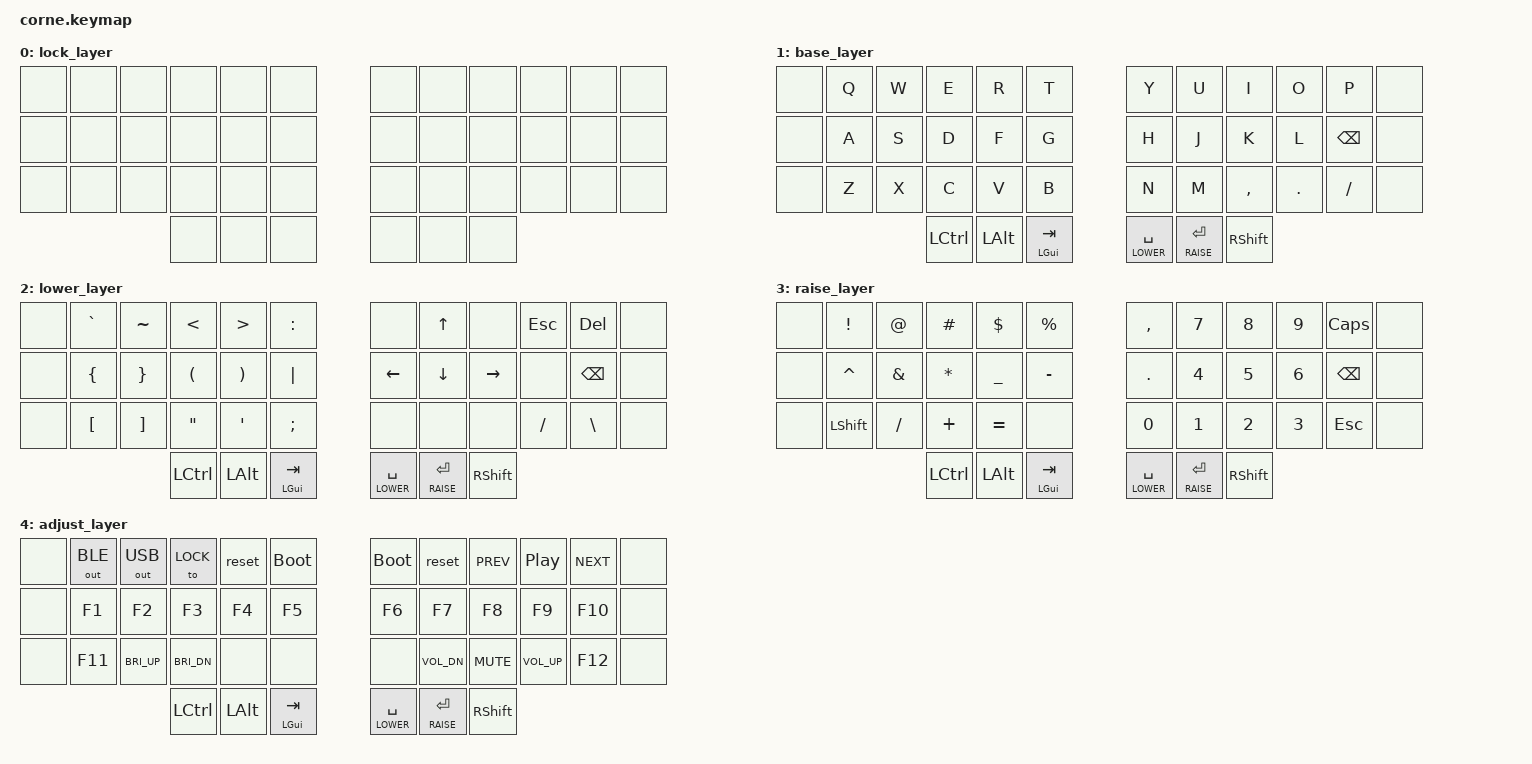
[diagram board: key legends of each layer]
/*
 * Copyright (c) 2020 The ZMK Contributors
 *
 * SPDX-License-Identifier: MIT
 */

#include <behaviors.dtsi>
#include <dt-bindings/zmk/keys.h>
#include <dt-bindings/zmk/outputs.h>

#define LOCK 0
#define BASE   1
#define LOWER   2
#define RAISE   3
#define ADJUST  4

/ {
        conditional_layers {
                compatible = "zmk,conditional-layers";
                adjust_layer {
                if-layers = <LOWER RAISE>;
                then-layer = <ADJUST>;
                };
                layers = <BASE LOWER RAISE ADJUST>;
        };
        
        behaviors {
                tm: space_mod {
                        compatible = "zmk,behavior-hold-tap";
                        label = "SPACE_MOD";
                        #binding-cells = <2>;
                        flavor = "balanced";
                        tapping-term-ms = <200>;
                        quick-tap-ms = <125>;
                        bindings = <&kp>, <&kp>;
                };
        };

        combos {
                compatible = "zmk,combos";
                combo_unlock {
                    timeout-ms = <500>;
                    key-positions = <16 19>;
                    bindings = <&to BASE>;
                    layers = <LOCK>;
                };
                combo_copy {
                    timeout-ms = <30>;
                    key-positions = <13 22>;
                    bindings = <&kp LG(C)>;
                    layers = <BASE>;
                };
                combo_cut {
                    timeout-ms = <30>;
                    key-positions = <14 21>;
                    bindings = <&kp LG(X)>;
                    layers = <BASE>;
                };
                combo_paste {
                    timeout-ms = <30>;
                    key-positions = <15 20>;
                    bindings = <&kp LG(V)>;
                    layers = <BASE>;
                };
                combo_sel_all {
                    timeout-ms = <30>;
                    key-positions = <25 34>;
                    bindings = <&kp LG(A)>;
                    layers = <BASE>;
                };
                combo_left_space {
                    timeout-ms = <50>;
                    key-positions = <26 33>;
                    bindings = <&kp LC(LEFT)>;
                    layers = <BASE>;
                };
                combo_right_space {
                    timeout-ms = <50>;
                    key-positions = <27 32>;
                    bindings = <&kp LC(RIGHT)>;
                    layers = <BASE>;
                };

                combo_esc {
                    timeout-ms = <50>;
                    key-positions = <28 31>;
                    bindings = <&kp ESC>;
                    layers = <BASE>;
                };
        };

        keymap {
                compatible = "zmk,keymap";

                lock_layer {
// ---------------------------------------------------------------------------   --------------------------------------------------------------------------
// |    0  |   1        |    2        |   3        |     4       |     5     |   |     6     |     7     |     8      |   9          |   10       |  11   |
// ---------------------------------------------------------------------------   --------------------------------------------------------------------------
// | 12    |    13      |     14      |     15     |     16      |    17     |   |    18     |     19    |    20      |     21       |    22      |  23   |
// ---------------------------------------------------------------------------   --------------------------------------------------------------------------
// |  24   |   25       |    26       |    27      |    28       |    29     |   |   30      |   31      |    32      |      33      |    34      |  35   |
// ---------------------------------------------------------------------------   --------------------------------------------------------------------------
//                                    |    36      |   37        |     38    |   |   39      |       40  |    41              |
//                                    ----------------------------------------   ----------------------------------------------
                         
                        bindings = <
                                &none   &none     &none   &none   &none   &none           &none   &none    &none   &none   &none   &none
                                &none   &none     &none   &none   &none   &none           &none   &none    &none   &none   &none   &none
                                &none   &none     &none   &none   &none   &none           &none   &none    &none   &none   &none   &none
                                                          &none   &none   &none           &none   &none    &none                        
                        >;
                };

                base_layer {
// ---------------------------------------------------------------------------   --------------------------------------------------------------------------
// |       |  Q         |  W          |  E         |  R          |  T        |   |  Y        |  U        |  I         |  O           |    P       |       |
// ---------------------------------------------------------------------------   --------------------------------------------------------------------------
// |       |  A         |  S          |  D         |  F          |  G        |   |  H        |  J        |  K         |  L           |  BSPC      |       |
// ---------------------------------------------------------------------------   --------------------------------------------------------------------------
// |       |  Z         |  X          |  C         |  V          |  B        |   |  N        |  M        |  ,         |  .           |  /         |       |
// ---------------------------------------------------------------------------   --------------------------------------------------------------------------
//                                    | LCTRL      | LALT       | TAB/CMD    |   | SPACE/LWR | ENTER/RSE |       RSHIFT        |
//                                    ----------------------------------------   ----------------------------------------------
                         
                        bindings = <
                                &none   &kp Q         &kp W   &kp E   &kp R   &kp T           &kp Y   &kp U   &kp I       &kp O        &kp P            &none
                                &none   &kp A         &kp S   &kp D   &kp F   &kp G           &kp H   &kp J   &kp K       &kp L        &kp BSPC         &none
                                &none   &kp Z         &kp X   &kp C   &kp V   &kp B           &kp N   &kp M   &kp COMMA   &kp DOT      &kp FSLH         &none
                                                        &kp LCTRL   &kp LALT   &tm LGUI TAB      &lt LOWER SPACE   &lt RAISE ENTER     &kp RSHFT                        
                        >;
                };


                lower_layer {
// ---------------------------------------------------------------------------   --------------------------------------------------------------------------
// |       |     `        |     ~     |     <       |    >       |      :    |   |           |    UP       |           |    ESC      |   Delete   |       |
// ---------------------------------------------------------------------------   --------------------------------------------------------------------------
// |       |  {           |     }     |   (        |     )       |    |      |   |   LEFT    |  DOWN       |     RIGHT |             |   BSPC    |       |
// ---------------------------------------------------------------------------   --------------------------------------------------------------------------
// |       |  [           |     ]     |   "        |     '       |    ;      |   |           |             |           |    /        |  \        |       |
// ---------------------------------------------------------------------------   --------------------------------------------------------------------------
//                                    | LCTRL      | LALT       | TAB/CMD    |   | SPACE/LWR | ENTER/RSE |       RSHIFT        |
//                                    ----------------------------------------   ----------------------------------------------
                        
                        bindings = <
                                &none      &kp GRAVE           &kp TILDE     &kp LT      &kp GT        &kp COLON                 &none          &kp UP         &none           &kp ESC             &kp DEL       &none
                                &none      &kp LBRC            &kp RBRC      &kp LPAR       &kp RPAR       &kp PIPE            &kp LEFT       &kp DOWN        &kp RIGHT        &none         &kp BSPC      &none
                                &none      &kp LBKT            &kp RBKT      &kp DQT        &kp APOS       &kp SEMI            &none          &none         &none           &kp FSLH          &kp BSLH      &none
                                                        &kp LCTRL   &kp LALT   &tm LGUI TAB      &lt LOWER SPACE   &lt RAISE ENTER     &kp RSHFT                        
                        >;
                };


                raise_layer {
// ---------------------------------------------------------------------------   --------------------------------------------------------------------------
// |       |   !          |  @        |  #         |  $          |  %        |   |    ,      |  7        |  8         |  9          |  CAPS      |        |
// ---------------------------------------------------------------------------   --------------------------------------------------------------------------
// |       |   ^          |  &        |  *         |  _          |  -        |   |    .      |  4        |  5         |  6          |  BSPC      |        |
// ---------------------------------------------------------------------------   --------------------------------------------------------------------------
// |       |   LSHIFT     |  /        |  +         |   =         |           |   |  0        |  1        |  2         |  3          |  Esc    |        |
// ---------------------------------------------------------------------------   --------------------------------------------------------------------------
//                                    | LCTRL      | LALT       | TAB/CMD    |   | SPACE/LWR | ENTER/RSE |      RSHIFT        |
//                                    ----------------------------------------   ----------------------------------------------
                        bindings = <
                                &none      &kp EXCL       &kp AT      &kp HASH       &kp DLLR      &kp PRCNT    &kp COMMA      &kp N7        &kp N8       &kp N9      &kp CAPS       &none
                                &none      &kp CARET      &kp AMPS    &kp ASTERISK   &kp UNDER     &kp MINUS    &kp DOT        &kp N4        &kp N5       &kp N6      &kp BSPC       &none
                                &none      &kp LSHFT      &kp FSLH    &kp PLUS       &kp EQUAL     &none        &kp N0         &kp N1        &kp N2       &kp N3      &kp ESC      &none
                                                        &kp LCTRL   &kp LALT   &tm LGUI TAB      &lt LOWER SPACE   &lt RAISE ENTER     &kp RSHFT                        
                        >;
                };


                adjust_layer {
// ---------------------------------------------------------------------------   --------------------------------------------------------------------------
// |        |   OUT_BLE   |   OUT_USB |   lock     |  reset     | bootloader |   | bootloader|  reset    | previous    |  play      | next       |        |
// ---------------------------------------------------------------------------   --------------------------------------------------------------------------
// |        |   F1        |   F2      |    F3      |  F4        |   F5       |   |  F6       |  F7       |  F8         |  F9        |  F10       |        |
// ---------------------------------------------------------------------------   --------------------------------------------------------------------------
// |        |   F11       |   BRI_UP  |   BRI_DN   |            |            |   |           | Volm down |  Mute       | Volm up    |   F12      |        |
// ---------------------------------------------------------------------------   --------------------------------------------------------------------------
//                                    | LCTRL      | LALT       | TAB/CMD    |   | SPACE/LWR | ENTER/RSE |       RSHIFT       |
//                                    ----------------------------------------   ----------------------------------------------
                        bindings =<
                                &none      &out OUT_BLE           &out OUT_USB             &to LOCK              &reset            &bootloader          &bootloader       &reset              &kp C_PREV            &kp C_PP           &kp C_NEXT          &none
                                &none      &kp F1          &kp F2            &kp F3            &kp F4            &kp F5               &kp F6           &kp F7               &kp F8                &kp F9             &kp F10             &none
                                &none      &kp F11         &kp C_BRI_UP      &kp C_BRI_DN      &none      &none         &none         &kp C_VOL_DN         &kp C_MUTE            &kp C_VOL_UP       &kp F12             &none
                                                        &kp LCTRL   &kp LALT   &tm LGUI TAB      &lt LOWER SPACE   &lt RAISE ENTER     &kp RSHFT                        
                        >;
                };

                
        };
};
